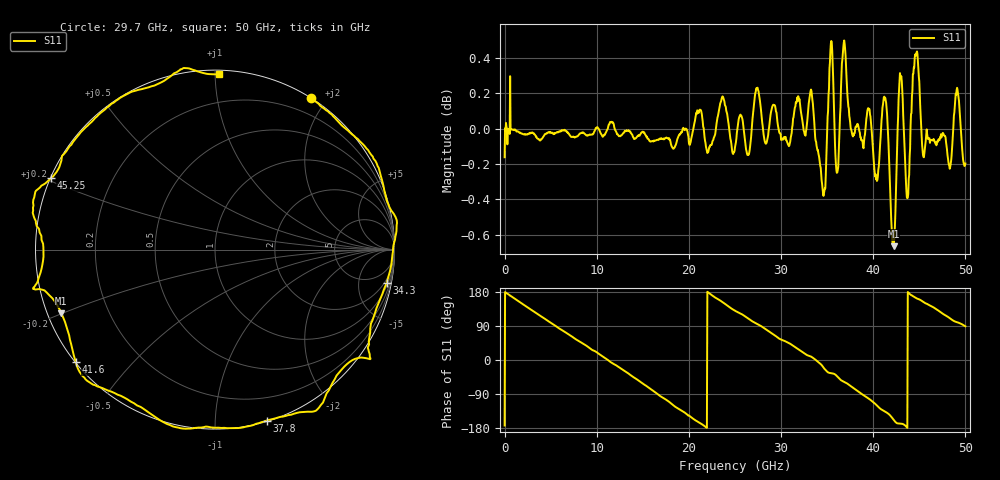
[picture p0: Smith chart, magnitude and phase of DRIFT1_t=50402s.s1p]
!Created with skrf (http://scikit-rf.org).
# Hz S RI R 50.0
!freq ReS11 ImS11
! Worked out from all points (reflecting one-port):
!   1001 points, 300 kHz to 50 GHz, reference 50 ohm
!   lowest |S11| = -0.7 dB at 42.2 GHz (marker M1), VSWR 26.14, Z = 1.99 - j9.92 ohm
!   phase of S11 starts at -173 deg and turns -818 deg over the sweep
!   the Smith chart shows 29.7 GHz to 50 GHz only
!   S11 on the Smith chart (normalised r, x): 29.7 GHz: -0.00, +1.81; 34.3 GHz: 1, -10; 37.8 GHz: 0.01, -1.35; 41.6 GHz: 0.00, -0.35; 45.25 GHz: 0.00, +0.21; 50 GHz: 0.02, +1.02
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300000  -0.9741 -0.1209
1.450291e9  -0.9126 0.4044
3.25028e9  -0.5925 0.8008
6.250262e9  0.2003 0.9785
9.450243e9  0.8851 0.457
1.250022e10  0.9323 -0.3483
1.580021e10  0.2407 -0.9619
1.73502e10  -0.2085 -0.9714
1.875019e10  -0.5968 -0.7941
2.150017e10  -0.9921 -0.1575
2.345016e10  -0.9298 0.4131
2.500015e10  -0.6349 0.757
2.740014e10  -0.0986 1.022
2.970012e10  0.5345 0.8462
3.125011e10  0.7841 0.6246
3.31001e10  1.005 0.1836
3.430009e10  0.9575 -0.1837
3.520009e10  0.8563 -0.5657
3.750008e10  0.3762 -0.9307
3.780007e10  0.2882 -0.9523
3.955006e10  -0.2189 -0.9891
4.160005e10  -0.7761 -0.6264
4.220005e10  -0.856 -0.3541
4.290004e10  -1.013 -0.2192
4.375004e10  -0.9561 0.01
4.525003e10  -0.9126 0.3983
4.770001e10  -0.4959 0.8633
5e10  0.0201 0.9773
